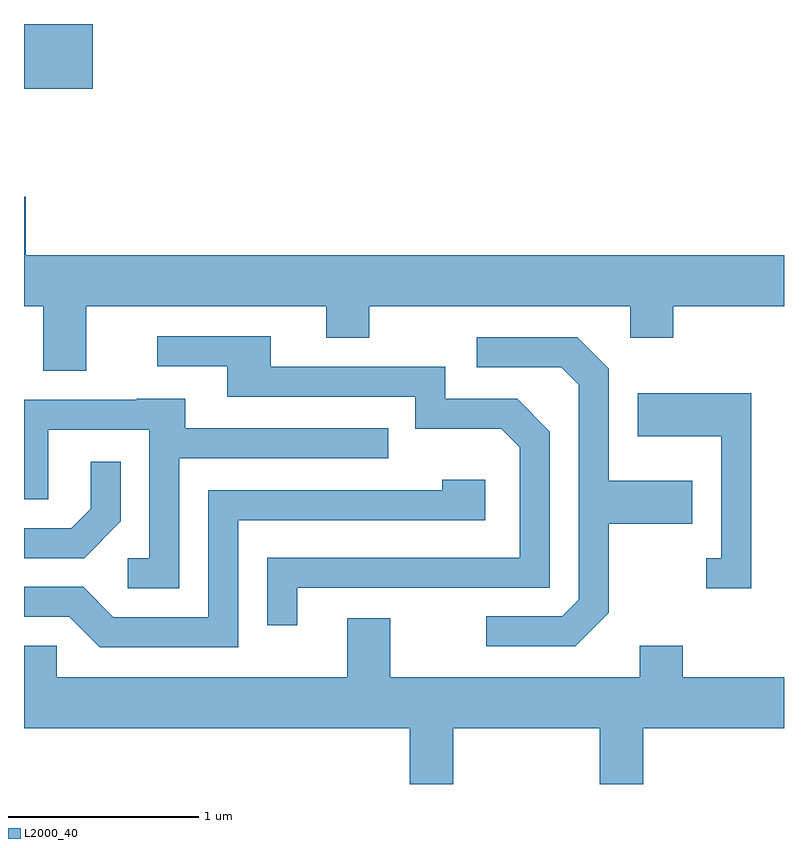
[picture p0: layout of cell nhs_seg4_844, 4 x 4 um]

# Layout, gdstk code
import gdstk
lib = gdstk.Library(unit=1e-6, precision=1e-09)
def R(c, l, rs):  # rectangles x0, y0, x1, y1
    for r in rs: c.add(gdstk.rectangle(r[:2], r[2:], *l))
def P(c, l, *ps):  # polygons
    for p in ps: c.add(gdstk.Polygon(p, *l))
L2000_40 = (2000, 40)

nhs_seg4_844 = lib.new_cell('nhs_seg4_844')
R(nhs_seg4_844, L2000_40, [(209.611,1313.641,209.974,1313.982)])
P(nhs_seg4_844, L2000_40, [(209.939,1312.496),(211.201,1312.496),(211.201,1312.331),(211.429,1312.331),(211.429,1312.496),(212.801,1312.496),(212.801,1312.331),(213.029,1312.331),(213.029,1312.496),(213.611,1312.496),(213.611,1312.764),(209.619,1312.764),(209.619,1313.074),(209.611,1313.074),(209.611,1312.496),(209.711,1312.496),(209.711,1312.156),(209.939,1312.156)],
  [(211.049,1311.016),(212.379,1311.016),(212.379,1311.837),(212.207,1312.009),(211.829,1312.009),(211.829,1312.179),(210.909,1312.179),(210.909,1312.339),(210.313,1312.339),(210.313,1312.181),(210.681,1312.181),(210.681,1312.021),(211.671,1312.021),(211.671,1311.851),(212.124,1311.851),(212.221,1311.754),(212.221,1311.174),(210.891,1311.174),(210.891,1310.818),(211.049,1310.818)],
  [(212.689,1310.884),(212.689,1311.351),(213.129,1311.351),(213.129,1311.579),(212.689,1311.579),(212.689,1312.167),(212.522,1312.334),(211.993,1312.334),(211.993,1312.176),(212.439,1312.176),(212.531,1312.084),(212.531,1310.952),(212.444,1310.864),(212.043,1310.864),(212.043,1310.706),(212.512,1310.706)],
  [(213.439,1312.039),(212.841,1312.039),(212.841,1311.811),(213.281,1311.811),(213.281,1311.169),(213.203,1311.169),(213.203,1311.011),(213.439,1311.011)],
  [(210.429,1311.696),(211.528,1311.696),(211.528,1311.854),(210.459,1311.854),(210.459,1312.009),(210.205,1312.009),(210.205,1312.004),(209.611,1312.004),(209.611,1311.481),(209.739,1311.481),(209.739,1311.846),(210.271,1311.846),(210.271,1311.169),(210.158,1311.169),(210.158,1311.011),(210.429,1311.011)],
  [(210.119,1311.364),(210.119,1311.678),(209.961,1311.678),(209.961,1311.432),(209.859,1311.329),(209.611,1311.329),(209.611,1311.171),(209.927,1311.171)],
  [(210.739,1311.371),(212.039,1311.371),(212.039,1311.584),(211.811,1311.584),(211.811,1311.529),(210.581,1311.529),(210.581,1310.859),(210.082,1310.859),(209.922,1311.019),(209.611,1311.019),(209.611,1310.861),(209.849,1310.861),(210.009,1310.701),(210.739,1310.701)],
  [(211.539,1310.854),(211.311,1310.854),(211.311,1310.544),(209.784,1310.544),(209.784,1310.709),(209.611,1310.709),(209.611,1310.276),(211.641,1310.276),(211.641,1309.982),(211.869,1309.982),(211.869,1310.276),(212.641,1310.276),(212.641,1309.982),(212.869,1309.982),(212.869,1310.276),(213.611,1310.276),(213.611,1310.544),(213.079,1310.544),(213.079,1310.709),(212.851,1310.709),(212.851,1310.544),(211.539,1310.544)])

lib.write_gds('nhs_seg4_844.gds')
